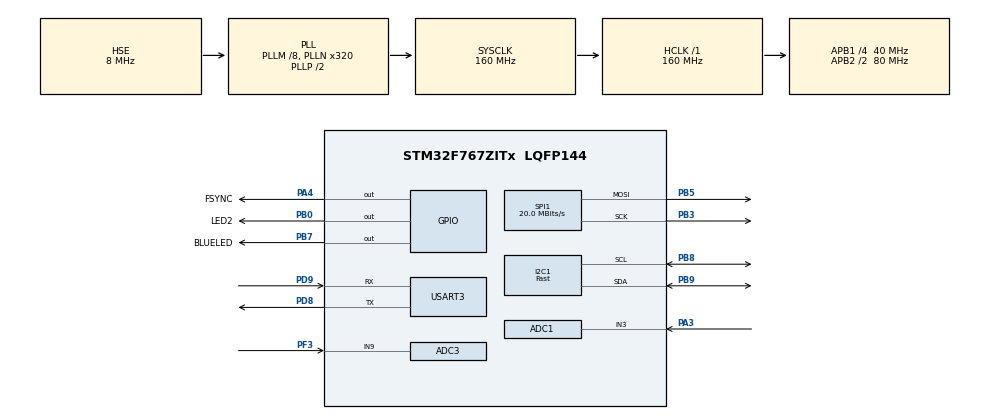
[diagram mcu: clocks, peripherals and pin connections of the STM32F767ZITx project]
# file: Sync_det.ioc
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ADC1.Channel-0\#ChannelRegularConversion=ADC_CHANNEL_3
ADC1.DMAContinuousRequests=ENABLE
ADC1.ExternalTrigConv=ADC_EXTERNALTRIGCONV_T6_TRGO
ADC1.NbrOfConversionFlag=1
ADC1.Rank-0\#ChannelRegularConversion=1
ADC1.SamplingTime-0\#ChannelRegularConversion=ADC_SAMPLETIME_3CYCLES
ADC1.master=1
ADC3.Channel-1\#ChannelRegularConversion=ADC_CHANNEL_9
ADC3.DMAContinuousRequests=ENABLE
ADC3.ExternalTrigConv=ADC_EXTERNALTRIGCONV_T6_TRGO
ADC3.NbrOfConversionFlag=1
ADC3.Rank-1\#ChannelRegularConversion=1
ADC3.SamplingTime-1\#ChannelRegularConversion=ADC_SAMPLETIME_3CYCLES
CORTEX_M7.default_mode_Activation=1
Dma.ADC1.0.Direction=DMA_PERIPH_TO_MEMORY
Dma.ADC1.0.FIFOMode=DMA_FIFOMODE_DISABLE
Dma.ADC1.0.Instance=DMA2_Stream0
Dma.ADC1.0.MemDataAlignment=DMA_MDATAALIGN_HALFWORD
Dma.ADC1.0.MemInc=DMA_MINC_ENABLE
Dma.ADC1.0.Mode=DMA_NORMAL
Dma.ADC1.0.PeriphDataAlignment=DMA_PDATAALIGN_HALFWORD
Dma.ADC1.0.PeriphInc=DMA_PINC_DISABLE
Dma.ADC1.0.Priority=DMA_PRIORITY_LOW
Dma.ADC3.1.Direction=DMA_PERIPH_TO_MEMORY
Dma.ADC3.1.FIFOMode=DMA_FIFOMODE_DISABLE
Dma.ADC3.1.Instance=DMA2_Stream1
Dma.ADC3.1.MemDataAlignment=DMA_MDATAALIGN_HALFWORD
Dma.ADC3.1.MemInc=DMA_MINC_ENABLE
Dma.ADC3.1.Mode=DMA_NORMAL
Dma.ADC3.1.PeriphDataAlignment=DMA_PDATAALIGN_HALFWORD
Dma.ADC3.1.PeriphInc=DMA_PINC_DISABLE
Dma.ADC3.1.Priority=DMA_PRIORITY_LOW
Dma.Request0=ADC1
Dma.Request1=ADC3
I2C1.I2C_Speed_Mode=I2C_Fast
I2C1.Timing=0x00301347
Mcu.Family=STM32F7
Mcu.Name=STM32F767ZITx
Mcu.Package=LQFP144
NVIC.DMA2_Stream0_IRQn=true\:0\:0\:false\:false\:true\:false\:true\:true
NVIC.DMA2_Stream1_IRQn=true\:0\:0\:false\:false\:true\:false\:true\:true
NVIC.PriorityGroup=NVIC_PRIORITYGROUP_4
PA3.Signal=ADCx_IN3
PA4.GPIO_Label=FSYNC
PA4.Signal=GPIO_Output
PB0.GPIO_Label=LED2
PB0.Signal=GPIO_Output
PB3.Mode=TX_Only_Simplex_Unidirect_Master
PB3.Signal=SPI1_SCK
PB5.Mode=TX_Only_Simplex_Unidirect_Master
PB5.Signal=SPI1_MOSI
PB7.GPIO_Label=BLUELED
PB7.Signal=GPIO_Output
PB8.Mode=I2C
PB8.Signal=I2C1_SCL
PB9.Mode=I2C
PB9.Signal=I2C1_SDA
PD8.Mode=Asynchronous
PD8.Signal=USART3_TX
PD9.Mode=Asynchronous
PD9.Signal=USART3_RX
PF3.Mode=IN9
PF3.Signal=ADC3_IN9
PH0/OSC_IN.Mode=HSE-External-Clock-Source
PH0/OSC_IN.Signal=RCC_OSC_IN
PH1/OSC_OUT.Mode=HSE-External-Clock-Source
PH1/OSC_OUT.Signal=RCC_OSC_OUT
ProjectManager.HeapSize=0x200
ProjectManager.StackSize=0x400
ProjectManager.TargetToolchain=STM32CubeIDE
RCC.AHBFreq_Value=160000000
RCC.APB1CLKDivider=RCC_HCLK_DIV4
RCC.APB1Freq_Value=40000000
RCC.APB1TimFreq_Value=80000000
RCC.APB2CLKDivider=RCC_HCLK_DIV2
RCC.APB2Freq_Value=80000000
RCC.APB2TimFreq_Value=160000000
RCC.CortexFreq_Value=160000000
RCC.HCLKFreq_Value=160000000
RCC.HSE_VALUE=8000000
RCC.HSI_VALUE=16000000
RCC.LSE_VALUE=32768
RCC.PLLM=8
RCC.PLLN=320
RCC.PLLSourceVirtual=RCC_PLLSOURCE_HSE
RCC.SYSCLKFreq_VALUE=160000000
RCC.SYSCLKSource=RCC_SYSCLKSOURCE_PLLCLK
RCC.USBFreq_Value=160000000
RCC.VCOOutputFreq_Value=320000000
SH.ADCx_IN3.0=ADC1_IN3,IN3
SPI1.BaudRatePrescaler=SPI_BAUDRATEPRESCALER_4
SPI1.CLKPolarity=SPI_POLARITY_HIGH
SPI1.CalculateBaudRate=20.0 MBits/s
SPI1.DataSize=SPI_DATASIZE_16BIT
SPI1.Direction=SPI_DIRECTION_2LINES
SPI1.Mode=SPI_MODE_MASTER
SPI1.NSSPMode=SPI_NSS_PULSE_DISABLE
SPI1.VirtualType=VM_MASTER
TIM6.Period=10-1
TIM6.Prescaler=8-1
TIM6.TIM_MasterOutputTrigger=TIM_TRGO_UPDATE
USART3.VirtualMode-Asynchronous=VM_ASYNC
VP_TIM6_VS_ClockSourceINT.Mode=Enable_Timer
board=custom

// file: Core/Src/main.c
/* USER CODE BEGIN Header */
/**
  ******************************************************************************
  * @file           : main.c
  * @brief          : Main program body
  ******************************************************************************
  * @attention
  *
  * Copyright (c) 2025 STMicroelectronics.
  * All rights reserved.
  *
  * This software is licensed under terms that can be found in the LICENSE file
  * in the root directory of this software component.
  * If no LICENSE file comes with this software, it is provided AS-IS.
  *
  ******************************************************************************
  */
/* USER CODE END Header */
#include "main.h"

/* USER CODE BEGIN Includes */
//#include "math.h"
#include <stdio.h>
#include "arm_math.h"
#include "ssd1306.h"
#include "ssd1306_fonts.h"

/* USER CODE END Includes */

/* USER CODE BEGIN PD */
#define NUM_SAMPLES 1024
#define ARM_MATH_CM7
#define fft_buf_size 1024
#define REF_RESISTANCE 4700.0f    // Ohms 2.4/4.7/9.1 (Ri = 3.66kΩ)
#define ADC_VREF 3.3f             // ADC reference voltage
#define ADC_MAX_VALUE 4095.0f     // For a 12-bit ADC (2^12 - 1)
#define AD9833_MCLK 16000000UL  // 16 MHz crystal

/* USER CODE END PD */

ADC_HandleTypeDef hadc1;
ADC_HandleTypeDef hadc3;
DMA_HandleTypeDef hdma_adc1;
DMA_HandleTypeDef hdma_adc3;

I2C_HandleTypeDef hi2c1;

SPI_HandleTypeDef hspi1;

TIM_HandleTypeDef htim6;

UART_HandleTypeDef huart3;

/* USER CODE BEGIN PV */
uint16_t adc1_buf[NUM_SAMPLES];
uint16_t adc3_buf[NUM_SAMPLES];
uint16_t sine_LUT[NUM_SAMPLES];
uint32_t N = NUM_SAMPLES;
uint32_t M = 32;
uint32_t freq_out ;
uint32_t fsampling ; // Hz (adjust based on TIM6 config)
uint32_t phase_inc;
uint32_t phase_acc;
uint32_t dac_res = 12;
uint32_t lut_idx;
uint32_t k;

volatile uint8_t trigger = 0;
volatile uint8_t adc_running = 0;

/* USER CODE END PV */

void SystemClock_Config(void);
static void MPU_Config(void);
static void MX_GPIO_Init(void);
static void MX_DMA_Init(void);
static void MX_TIM6_Init(void);
static void MX_ADC1_Init(void);
static void MX_USART3_UART_Init(void);
static void MX_ADC3_Init(void);
static void MX_I2C1_Init(void);
static void MX_SPI1_Init(void);
/* USER CODE BEGIN PFP */
static void AD9833_SetFrequency(uint32_t freq_hz);

/* USER CODE END PFP */

/* USER CODE BEGIN 0 */
float value = 0.2;

uint32_t var;

float32_t cos_ref[NUM_SAMPLES];  // Reference cosine
float32_t sin_ref[NUM_SAMPLES];  // Reference sine (-sin for Q)

float32_t fft_input_v1[NUM_SAMPLES * 2];
float32_t fft_input_v2[NUM_SAMPLES * 2];
float32_t fft_output_v1[NUM_SAMPLES];  // Magnitude spectrum
float32_t fft_output_v2[NUM_SAMPLES];  // Magnitude spectrum
// Results
typedef struct {
    float magnitude_v1;    // V1 magnitude at signal frequency
    float magnitude_v2;    // V2 magnitude at signal frequency
    float phase_v1;        // V1 phase (radians)
    float phase_v2;        // V2 phase (radians)
    float phase_diff;      // V2 - V1 phase difference
    float impedance_mag;   // |Z(ω)|
    float impedance_phase; // ∠Z(ω)
    float real_z;          // Real part of Z
    float imag_z;          // Imaginary part of Z
    float I_component;     // In-phase component
    float Q_component;     // Quadrature component
    float I_v1, Q_v1;      // V1 I and Q components
    float I_v2, Q_v2;      // V2 I and Q components
} ImpedanceResult;

ImpedanceResult result;

// FFT instance (use appropriate size)
arm_rfft_fast_instance_f32 fft_instance;
/* USER CODE END 0 */

int main(void)
{

  /* MPU Configuration--------------------------------------------------------*/
  MPU_Config();

  /* MCU Configuration--------------------------------------------------------*/

  /* Reset of all peripherals, Initializes the Flash interface and the Systick. */
  HAL_Init();

  /* Configure the system clock */
  SystemClock_Config();

  /* Initialize all configured peripherals */
  MX_GPIO_Init();
  MX_DMA_Init();
  MX_TIM6_Init();
  MX_ADC1_Init();
  MX_USART3_UART_Init();
  MX_ADC3_Init();
  MX_I2C1_Init();
  MX_SPI1_Init();
  /* USER CODE BEGIN 2 */
  ssd1306_Init();
  HAL_Delay(1000);
  freq_out =1000;
  fsampling = 100000;
  AD9833_SetFrequency(freq_out);
  arm_rfft_fast_init_f32(&fft_instance,NUM_SAMPLES);

  HAL_ADC_Start_DMA(&hadc1, (uint32_t* )adc1_buf, NUM_SAMPLES);
  HAL_ADC_Start_DMA(&hadc3, (uint32_t* )adc3_buf, NUM_SAMPLES);
  HAL_TIM_Base_Start(&htim6);

  /* USER CODE END 2 */

  /* Infinite loop */
  /* USER CODE BEGIN WHILE */
  while (1)
  {

	  //printf("ADC1: %u, ADC3: %u\r\n", adc1_buf[0], adc3_buf[0]);
	   //   HAL_Delay(500);
    /* USER CODE END WHILE */

  }
}

void SystemClock_Config(void)
{
  RCC_OscInitTypeDef RCC_OscInitStruct = {0};
  RCC_ClkInitTypeDef RCC_ClkInitStruct = {0};

  /** Configure the main internal regulator output voltage
  */
  __HAL_RCC_PWR_CLK_ENABLE();
  __HAL_PWR_VOLTAGESCALING_CONFIG(PWR_REGULATOR_VOLTAGE_SCALE2);

  /** Initializes the RCC Oscillators according to the specified parameters
  * in the RCC_OscInitTypeDef structure.
  */
  RCC_OscInitStruct.OscillatorType = RCC_OSCILLATORTYPE_HSE;
  RCC_OscInitStruct.HSEState = RCC_HSE_BYPASS;
  RCC_OscInitStruct.PLL.PLLState = RCC_PLL_ON;
  RCC_OscInitStruct.PLL.PLLSource = RCC_PLLSOURCE_HSE;
  RCC_OscInitStruct.PLL.PLLM = 8;
  RCC_OscInitStruct.PLL.PLLN = 320;
  RCC_OscInitStruct.PLL.PLLP = RCC_PLLP_DIV2;
  RCC_OscInitStruct.PLL.PLLQ = 2;
  RCC_OscInitStruct.PLL.PLLR = 2;
  if (HAL_RCC_OscConfig(&RCC_OscInitStruct) != HAL_OK)
  {
    Error_Handler();
  }

  /** Initializes the CPU, AHB and APB buses clocks
  */
  RCC_ClkInitStruct.ClockType = RCC_CLOCKTYPE_HCLK|RCC_CLOCKTYPE_SYSCLK
                              |RCC_CLOCKTYPE_PCLK1|RCC_CLOCKTYPE_PCLK2;
  RCC_ClkInitStruct.SYSCLKSource = RCC_SYSCLKSOURCE_PLLCLK;
  RCC_ClkInitStruct.AHBCLKDivider = RCC_SYSCLK_DIV1;
  RCC_ClkInitStruct.APB1CLKDivider = RCC_HCLK_DIV4;
  RCC_ClkInitStruct.APB2CLKDivider = RCC_HCLK_DIV2;

  if (HAL_RCC_ClockConfig(&RCC_ClkInitStruct, FLASH_LATENCY_5) != HAL_OK)
  {
    Error_Handler();
  }
}

static void MX_ADC1_Init(void)
{

  ADC_ChannelConfTypeDef sConfig = {0};

  /** Configure the global features of the ADC (Clock, Resolution, Data Alignment and number of conversion)
  */
  hadc1.Instance = ADC1;
  hadc1.Init.ClockPrescaler = ADC_CLOCK_SYNC_PCLK_DIV4;
  hadc1.Init.Resolution = ADC_RESOLUTION_12B;
  hadc1.Init.ScanConvMode = ADC_SCAN_DISABLE;
  hadc1.Init.ContinuousConvMode = DISABLE;
  hadc1.Init.DiscontinuousConvMode = DISABLE;
  hadc1.Init.ExternalTrigConvEdge = ADC_EXTERNALTRIGCONVEDGE_RISING;
  hadc1.Init.ExternalTrigConv = ADC_EXTERNALTRIGCONV_T6_TRGO;
  hadc1.Init.DataAlign = ADC_DATAALIGN_RIGHT;
  hadc1.Init.NbrOfConversion = 1;
  hadc1.Init.DMAContinuousRequests = ENABLE;
  hadc1.Init.EOCSelection = ADC_EOC_SINGLE_CONV;
  if (HAL_ADC_Init(&hadc1) != HAL_OK)
  {
    Error_Handler();
  }

  /** Configure for the selected ADC regular channel its corresponding rank in the sequencer and its sample time.
  */
  sConfig.Channel = ADC_CHANNEL_3;
  sConfig.Rank = ADC_REGULAR_RANK_1;
  sConfig.SamplingTime = ADC_SAMPLETIME_3CYCLES;
  if (HAL_ADC_ConfigChannel(&hadc1, &sConfig) != HAL_OK)
  {
    Error_Handler();
  }

}

static void MX_ADC3_Init(void)
{

  ADC_ChannelConfTypeDef sConfig = {0};

  /** Configure the global features of the ADC (Clock, Resolution, Data Alignment and number of conversion)
  */
  hadc3.Instance = ADC3;
  hadc3.Init.ClockPrescaler = ADC_CLOCK_SYNC_PCLK_DIV4;
  hadc3.Init.Resolution = ADC_RESOLUTION_12B;
  hadc3.Init.ScanConvMode = ADC_SCAN_DISABLE;
  hadc3.Init.ContinuousConvMode = DISABLE;
  hadc3.Init.DiscontinuousConvMode = DISABLE;
  hadc3.Init.ExternalTrigConvEdge = ADC_EXTERNALTRIGCONVEDGE_RISING;
  hadc3.Init.ExternalTrigConv = ADC_EXTERNALTRIGCONV_T6_TRGO;
  hadc3.Init.DataAlign = ADC_DATAALIGN_RIGHT;
  hadc3.Init.NbrOfConversion = 1;
  hadc3.Init.DMAContinuousRequests = ENABLE;
  hadc3.Init.EOCSelection = ADC_EOC_SINGLE_CONV;
  if (HAL_ADC_Init(&hadc3) != HAL_OK)
  {
    Error_Handler();
  }

  /** Configure for the selected ADC regular channel its corresponding rank in the sequencer and its sample time.
  */
  sConfig.Channel = ADC_CHANNEL_9;
  sConfig.Rank = ADC_REGULAR_RANK_1;
  sConfig.SamplingTime = ADC_SAMPLETIME_3CYCLES;
  if (HAL_ADC_ConfigChannel(&hadc3, &sConfig) != HAL_OK)
  {
    Error_Handler();
  }

}

static void MX_I2C1_Init(void)
{

  hi2c1.Instance = I2C1;
  hi2c1.Init.Timing = 0x00301347;
  hi2c1.Init.OwnAddress1 = 0;
  hi2c1.Init.AddressingMode = I2C_ADDRESSINGMODE_7BIT;
  hi2c1.Init.DualAddressMode = I2C_DUALADDRESS_DISABLE;
  hi2c1.Init.OwnAddress2 = 0;
  hi2c1.Init.OwnAddress2Masks = I2C_OA2_NOMASK;
  hi2c1.Init.GeneralCallMode = I2C_GENERALCALL_DISABLE;
  hi2c1.Init.NoStretchMode = I2C_NOSTRETCH_DISABLE;
  if (HAL_I2C_Init(&hi2c1) != HAL_OK)
  {
    Error_Handler();
  }

  /** Configure Analogue filter
  */
  if (HAL_I2CEx_ConfigAnalogFilter(&hi2c1, I2C_ANALOGFILTER_ENABLE) != HAL_OK)
  {
    Error_Handler();
  }

  /** Configure Digital filter
  */
  if (HAL_I2CEx_ConfigDigitalFilter(&hi2c1, 0) != HAL_OK)
  {
    Error_Handler();
  }

}

static void MX_SPI1_Init(void)
{

  /* SPI1 parameter configuration*/
  hspi1.Instance = SPI1;
  hspi1.Init.Mode = SPI_MODE_MASTER;
  hspi1.Init.Direction = SPI_DIRECTION_2LINES;
  hspi1.Init.DataSize = SPI_DATASIZE_16BIT;
  hspi1.Init.CLKPolarity = SPI_POLARITY_HIGH;
  hspi1.Init.CLKPhase = SPI_PHASE_1EDGE;
  hspi1.Init.NSS = SPI_NSS_SOFT;
  hspi1.Init.BaudRatePrescaler = SPI_BAUDRATEPRESCALER_4;
  hspi1.Init.FirstBit = SPI_FIRSTBIT_MSB;
  hspi1.Init.TIMode = SPI_TIMODE_DISABLE;
  hspi1.Init.CRCCalculation = SPI_CRCCALCULATION_DISABLE;
  hspi1.Init.CRCPolynomial = 7;
  hspi1.Init.CRCLength = SPI_CRC_LENGTH_DATASIZE;
  hspi1.Init.NSSPMode = SPI_NSS_PULSE_DISABLE;
  if (HAL_SPI_Init(&hspi1) != HAL_OK)
  {
    Error_Handler();
  }

}

static void MX_TIM6_Init(void)
{

  TIM_MasterConfigTypeDef sMasterConfig = {0};

  htim6.Instance = TIM6;
  htim6.Init.Prescaler = 80-1;
  htim6.Init.CounterMode = TIM_COUNTERMODE_UP;
  htim6.Init.Period = 10-1;
  htim6.Init.AutoReloadPreload = TIM_AUTORELOAD_PRELOAD_DISABLE;
  if (HAL_TIM_Base_Init(&htim6) != HAL_OK)
  {
    Error_Handler();
  }
  sMasterConfig.MasterOutputTrigger = TIM_TRGO_UPDATE;
  sMasterConfig.MasterSlaveMode = TIM_MASTERSLAVEMODE_DISABLE;
  if (HAL_TIMEx_MasterConfigSynchronization(&htim6, &sMasterConfig) != HAL_OK)
  {
    Error_Handler();
  }

}

static void MX_USART3_UART_Init(void)
{

  huart3.Instance = USART3;
  huart3.Init.BaudRate = 115200;
  huart3.Init.WordLength = UART_WORDLENGTH_8B;
  huart3.Init.StopBits = UART_STOPBITS_1;
  huart3.Init.Parity = UART_PARITY_NONE;
  huart3.Init.Mode = UART_MODE_TX_RX;
  huart3.Init.HwFlowCtl = UART_HWCONTROL_NONE;
  huart3.Init.OverSampling = UART_OVERSAMPLING_16;
  huart3.Init.OneBitSampling = UART_ONE_BIT_SAMPLE_DISABLE;
  huart3.AdvancedInit.AdvFeatureInit = UART_ADVFEATURE_NO_INIT;
  if (HAL_UART_Init(&huart3) != HAL_OK)
  {
    Error_Handler();
  }

}

static void MX_DMA_Init(void)
{

  /* DMA controller clock enable */
  __HAL_RCC_DMA2_CLK_ENABLE();

  /* DMA interrupt init */
  /* DMA2_Stream0_IRQn interrupt configuration */
  HAL_NVIC_SetPriority(DMA2_Stream0_IRQn, 0, 0);
  HAL_NVIC_EnableIRQ(DMA2_Stream0_IRQn);
  /* DMA2_Stream1_IRQn interrupt configuration */
  HAL_NVIC_SetPriority(DMA2_Stream1_IRQn, 0, 0);
  HAL_NVIC_EnableIRQ(DMA2_Stream1_IRQn);

}

static void MX_GPIO_Init(void)
{
  GPIO_InitTypeDef GPIO_InitStruct = {0};

  /* GPIO Ports Clock Enable */
  __HAL_RCC_GPIOF_CLK_ENABLE();
  __HAL_RCC_GPIOH_CLK_ENABLE();
  __HAL_RCC_GPIOA_CLK_ENABLE();
  __HAL_RCC_GPIOB_CLK_ENABLE();
  __HAL_RCC_GPIOD_CLK_ENABLE();

  /*Configure GPIO pin Output Level */
  HAL_GPIO_WritePin(FSYNC_GPIO_Port, FSYNC_Pin, GPIO_PIN_RESET);

  /*Configure GPIO pin Output Level */
  HAL_GPIO_WritePin(GPIOB, LED2_Pin|BLUELED_Pin, GPIO_PIN_RESET);

  /*Configure GPIO pin : FSYNC_Pin */
  GPIO_InitStruct.Pin = FSYNC_Pin;
  GPIO_InitStruct.Mode = GPIO_MODE_OUTPUT_PP;
  GPIO_InitStruct.Pull = GPIO_NOPULL;
  GPIO_InitStruct.Speed = GPIO_SPEED_FREQ_LOW;
  HAL_GPIO_Init(FSYNC_GPIO_Port, &GPIO_InitStruct);

  /*Configure GPIO pins : LED2_Pin BLUELED_Pin */
  GPIO_InitStruct.Pin = LED2_Pin|BLUELED_Pin;
  GPIO_InitStruct.Mode = GPIO_MODE_OUTPUT_PP;
  GPIO_InitStruct.Pull = GPIO_NOPULL;
  GPIO_InitStruct.Speed = GPIO_SPEED_FREQ_LOW;
  HAL_GPIO_Init(GPIOB, &GPIO_InitStruct);

}

/* USER CODE BEGIN 4 */

static void AD9833_SetFrequency(uint32_t freq_hz)
{
    uint16_t data;
    uint32_t freq_word;

    // 28-bit frequency word calculation
    freq_word = (uint32_t)((freq_hz * (1ULL << 28)) / 16000000UL); // MCLK = 16 MHz

    // FSYNC Low to start
    HAL_GPIO_WritePin(FSYNC_GPIO_Port, FSYNC_Pin, GPIO_PIN_RESET);

    /**
     * DB13 is set to 1.
     * This allows a complete word to be loaded into a
     * frequency register in two consecutive writes.
	 * The first write contains 14 LSBs.
	 * The second write contains 14 MSBs.
     * RESET bit DB8 is set to 1.
     * This resets internal registers to 0,
     * which corresponds to an analog output of midscale.
     ***/
    data = 0x2100;
    HAL_SPI_Transmit(&hspi1, (uint8_t *)&data, 1, HAL_MAX_DELAY);

    /** Frequency word
     * DB15 and DB14 are set to 0 and 1, respectively,
     * which is the Frequency Register 0 address.
     **/
    // 2. Write lower 14 bits of frequency word
    data = 0x4000 | (freq_word & 0x3FFF);
    HAL_SPI_Transmit(&hspi1, (uint8_t *)&data, 1, HAL_MAX_DELAY);

    // 3. Write upper 14 bits of frequency word
    data = 0x4000 | ((freq_word >> 14) & 0x3FFF);
    HAL_SPI_Transmit(&hspi1, (uint8_t *)&data, 1, HAL_MAX_DELAY);

    // 4. Phase information
    /** DB15, DB14, and DB13 are set to 110, with DB12 set to don’t care (X),
     * respectively, which is the address for Phase Register 0.
     * The remaining 12 bits are the data bits and are all 0s in this case.
     * */
    //data = 0xC000;
    //HAL_SPI_Transmit(&hspi1, (uint8_t *)&data, 1, HAL_MAX_DELAY);

    // 4. Phase information: 90° shift for cosine
        // Phase register = 0xC000 | (phase & 0x0FFF)
        // 12-bit phase word = (desired_phase * 4096) / (2π)
    uint16_t phase90 = 0xC000 | (0x0FFF & (uint16_t)(4096 * 0.25)); // 90° = 0.25 of full scale
    HAL_SPI_Transmit(&hspi1, (uint8_t *)&phase90, 1, HAL_MAX_DELAY);

    // 5. Control register: Clear RESET to enable output
    data = 0x2000;  // RESET = 0, Mode = Sine
    HAL_SPI_Transmit(&hspi1, (uint8_t *)&data, 1, HAL_MAX_DELAY);

    // FSYNC High to end
    HAL_GPIO_WritePin(FSYNC_GPIO_Port, FSYNC_Pin, GPIO_PIN_SET);
}
/*
void HAL_TIM_PeriodElapsedCallback(TIM_HandleTypeDef *htim){

//if (htim == &htim7){
//		 //HAL_GPIO_TogglePin(Green_Led_GPIO_Port, Green_Led_Pin);
//	}
	lut_idx = phase_acc >> (M - k);
	HAL_DAC_SetValue(&hdac, DAC_CHANNEL_1, DAC_ALIGN_12B_R, sine_LUT[lut_idx]);
	phase_acc += phase_inc;

}
*/
int _write(int file, char *ptr, int len) {
    HAL_UART_Transmit(&huart3, (uint8_t*)ptr, len, HAL_MAX_DELAY);
    return len;
}

void Prepare_FFT_Data(uint16_t* adc_buf_signed, uint16_t* adc_buf_unsigned,
                      float32_t* fft_in_v1, float32_t* fft_in_v2) {
    float32_t sum_v1 = 0.0f;
    float32_t sum_v2 = 0.0f;

    // Calculate DC offset (mean value)
    for (int i = 0; i < NUM_SAMPLES; i++) {
        sum_v1 += (float32_t)adc_buf_signed[i];
        sum_v2 += (float32_t)adc_buf_unsigned[i];
    }

    float32_t mean_v1 = sum_v1 / NUM_SAMPLES;
    float32_t mean_v2 = sum_v2 / NUM_SAMPLES;

    // Prepare FFT input: remove DC, apply window, format for CMSIS-DSP
    // Format: [real0, imag0, real1, imag1, ...] where all imag = 0 initially
    for (int i = 0; i < NUM_SAMPLES; i++) {
        // Remove DC offset
        float32_t sample_v1 = (float32_t)adc_buf_signed[i] - mean_v1;
        float32_t sample_v2 = (float32_t)adc_buf_unsigned[i] - mean_v2;

        // Optional: Apply Hanning window to reduce spectral leakage
        float32_t window = 0.5f * (1.0f - arm_cos_f32(2.0f * PI * i / NUM_SAMPLES));

        // Store in FFT input buffer (real part only)
        fft_in_v1[i] = sample_v1 * window;
        fft_in_v2[i] = sample_v2 * window;
    }
}

void Compute_FFT(float32_t* fft_input, float32_t* fft_output) {
    // Temporary buffer for FFT output (complex format)
    float32_t fft_complex[NUM_SAMPLES * 2];

    // Perform FFT
    arm_rfft_fast_f32(&fft_instance, fft_input, fft_complex, 0);

    // Calculate magnitude spectrum
    arm_cmplx_mag_f32(fft_complex, fft_output, NUM_SAMPLES / 2);

}

void Extract_Signal_Parameters(float32_t* fft_complex, uint32_t bin_index,
        float32_t* magnitude, float32_t* phase) {
// Get real and imaginary parts at the signal frequency bin
float32_t real = fft_complex[bin_index * 2];
float32_t imag = fft_complex[bin_index * 2 + 1];

float32_t magnitude_lsb = 2.0f * sqrtf(real * real + imag * imag) / NUM_SAMPLES;
   *magnitude = magnitude_lsb * (ADC_VREF / ADC_MAX_VALUE);

// Calculate magnitude (divide by NUM_SAMPLES/2 for proper scaling)
//*magnitude = 2.0f * sqrtf(real * real + imag * imag) / NUM_SAMPLES;

// Calculate phase
*phase = atan2f(imag, real);
}

void Calculate_IQ_Components(float32_t mag_v2, float32_t phase_diff,
                             float32_t* I, float32_t* Q) {
    // I = magnitude * cos(phase)
    *I = mag_v2 * arm_cos_f32(phase_diff);

    // Q = magnitude * sin(phase)
    *Q = mag_v2 * arm_sin_f32(phase_diff);
}

void Calculate_Impedance(ImpedanceResult* res) {
    // Voltage ratio V2/V1
    float32_t voltage_ratio = res->magnitude_v2 / res->magnitude_v1;

    // Phase difference (V2 - V1)
    res->phase_diff = res->phase_v2 - res->phase_v1;

    // Normalize phase to [-π, π]
    while (res->phase_diff > PI) res->phase_diff -= 2.0f * PI;
    while (res->phase_diff < -PI) res->phase_diff += 2.0f * PI;

    // Calculate I and Q
    Calculate_IQ_Components(res->magnitude_v2, res->phase_diff,
                           &res->I_component, &res->Q_component);

    // Z(ω) = -Ri × (V2/V1)
    // Magnitude
    res->impedance_mag = REF_RESISTANCE * voltage_ratio;

    // Phase (add 180° for the negative sign)
    res->impedance_phase = res->phase_diff + PI ;

    // Normalize phase
    while (res->impedance_phase > PI) res->impedance_phase -= 2.0f * PI;
    while (res->impedance_phase < -PI) res->impedance_phase += 2.0f * PI;

    // Convert to rectangular form
    res->real_z = res->impedance_mag * arm_cos_f32(res->impedance_phase);
    res->imag_z = res->impedance_mag * arm_sin_f32(res->impedance_phase);
}

void Process_Impedance_Measurement(void) {
    // Wait for DMA completion (implement your own flags/callbacks)
    // while (!adc1_complete || !adc3_complete);
	char buffer[32];

    // Calculate frequency bin for signal
    uint32_t signal_bin = (uint32_t)((freq_out * NUM_SAMPLES) / fsampling);
    printf("\r\n Starting Impedance Measurement \r\n");
    printf("Signal frequency: %lu Hz\r\n", freq_out);
    printf("FFT bin: %lu\r\n", signal_bin);

    // STEP 3: Prepare data
    Prepare_FFT_Data(adc1_buf, adc3_buf, fft_input_v1, fft_input_v2);

    // STEP 4: Compute FFT for both channels
    float32_t fft_complex_v1[NUM_SAMPLES * 2];
    float32_t fft_complex_v2[NUM_SAMPLES * 2];

    arm_rfft_fast_f32(&fft_instance, fft_input_v1, fft_complex_v1, 0);
    arm_rfft_fast_f32(&fft_instance, fft_input_v2, fft_complex_v2, 0);

    // STEP 5: Extract signal parameters at the frequency of interest
    Extract_Signal_Parameters(fft_complex_v1, signal_bin,
                             &result.magnitude_v1, &result.phase_v1);
    Extract_Signal_Parameters(fft_complex_v2, signal_bin,
                             &result.magnitude_v2, &result.phase_v2);

    // STEP 7: Calculate impedance
    Calculate_Impedance(&result);
    // Results are now in 'result' structure
        // Print or transmit results
        printf("V1: %.3f V @ %.2f°\r\n", result.magnitude_v1,
               result.phase_v1 * 180.0f / PI);
        printf("V2: %.3f V @ %.2f°\r\n", result.magnitude_v2,
               result.phase_v2 * 180.0f / PI);
        printf("I: %.3f V, Q: %.3f V\r\n", result.I_component, result.Q_component);
        printf("|Z|: %.2f Ω, ∠Z: %.2f°\r\n", result.impedance_mag,
               result.impedance_phase * 180.0f / PI);
        printf("Z = %.2f %+.2fj Ω\r\n", result.real_z, result.imag_z);

    // Results are now in 'result' structure

        // Show frequency
        sprintf(buffer, "F = %lu Hz", freq_out);
        ssd1306_SetCursor(0, 0);
        ssd1306_WriteString(buffer, Font_7x10, White);

        // FFT bin
        sprintf(buffer, "Bin = %lu", signal_bin);
        ssd1306_SetCursor(0, 12);
        ssd1306_WriteString(buffer, Font_7x10, White);

        // Voltages
        sprintf(buffer, "V1=%.2f", result.magnitude_v1);
        ssd1306_SetCursor(0, 24);
        ssd1306_WriteString(buffer, Font_7x10, White);

        sprintf(buffer, "V2=%.2f", result.magnitude_v2);
        ssd1306_SetCursor(64, 24);
        ssd1306_WriteString(buffer, Font_7x10, White);

        // Impedance
        sprintf(buffer, "|Z|=%.1f", result.impedance_mag);
        ssd1306_SetCursor(0, 36);
        ssd1306_WriteString(buffer, Font_7x10, White);

        sprintf(buffer, "Ang=%.1f", result.impedance_phase * 180.0f / PI);
        ssd1306_SetCursor(64, 36);
        ssd1306_WriteString(buffer, Font_7x10, White);

        // Complex form
        sprintf(buffer, "Z=%.1f%+.1fj", result.real_z, result.imag_z);
        ssd1306_SetCursor(0, 48);
        ssd1306_WriteString(buffer, Font_7x10, White);

        // Refresh OLED
        ssd1306_UpdateScreen();
}

/*******************************************************************************
 * STEP 9: DMA CALLBACKS (OPTIONAL)
 ******************************************************************************/

volatile uint8_t adc1_complete = 0;
volatile uint8_t adc3_complete = 0;

void HAL_ADC_ConvCpltCallback(ADC_HandleTypeDef* hadc) {
    if (hadc->Instance == ADC1) {
        adc1_complete = 1;
    } else if (hadc->Instance == ADC3) {
        adc3_complete = 1;
    }

    // If both complete, trigger processing
    if (adc1_complete && adc3_complete) {
        adc1_complete = 0;
        adc3_complete = 0;
        Process_Impedance_Measurement();
    }
}

/* USER CODE END 4 */

 /* MPU Configuration */

void MPU_Config(void)
{
  MPU_Region_InitTypeDef MPU_InitStruct = {0};

  /* Disables the MPU */
  HAL_MPU_Disable();

  /** Initializes and configures the Region and the memory to be protected
  */
  MPU_InitStruct.Enable = MPU_REGION_ENABLE;
  MPU_InitStruct.Number = MPU_REGION_NUMBER0;
  MPU_InitStruct.BaseAddress = 0x0;
  MPU_InitStruct.Size = MPU_REGION_SIZE_4GB;
  MPU_InitStruct.SubRegionDisable = 0x87;
  MPU_InitStruct.TypeExtField = MPU_TEX_LEVEL0;
  MPU_InitStruct.AccessPermission = MPU_REGION_NO_ACCESS;
  MPU_InitStruct.DisableExec = MPU_INSTRUCTION_ACCESS_DISABLE;
  MPU_InitStruct.IsShareable = MPU_ACCESS_SHAREABLE;
  MPU_InitStruct.IsCacheable = MPU_ACCESS_NOT_CACHEABLE;
  MPU_InitStruct.IsBufferable = MPU_ACCESS_NOT_BUFFERABLE;

  HAL_MPU_ConfigRegion(&MPU_InitStruct);
  /* Enables the MPU */
  HAL_MPU_Enable(MPU_PRIVILEGED_DEFAULT);

}

void Error_Handler(void)
{
  __disable_irq();
  while (1)
  {
  }
}
